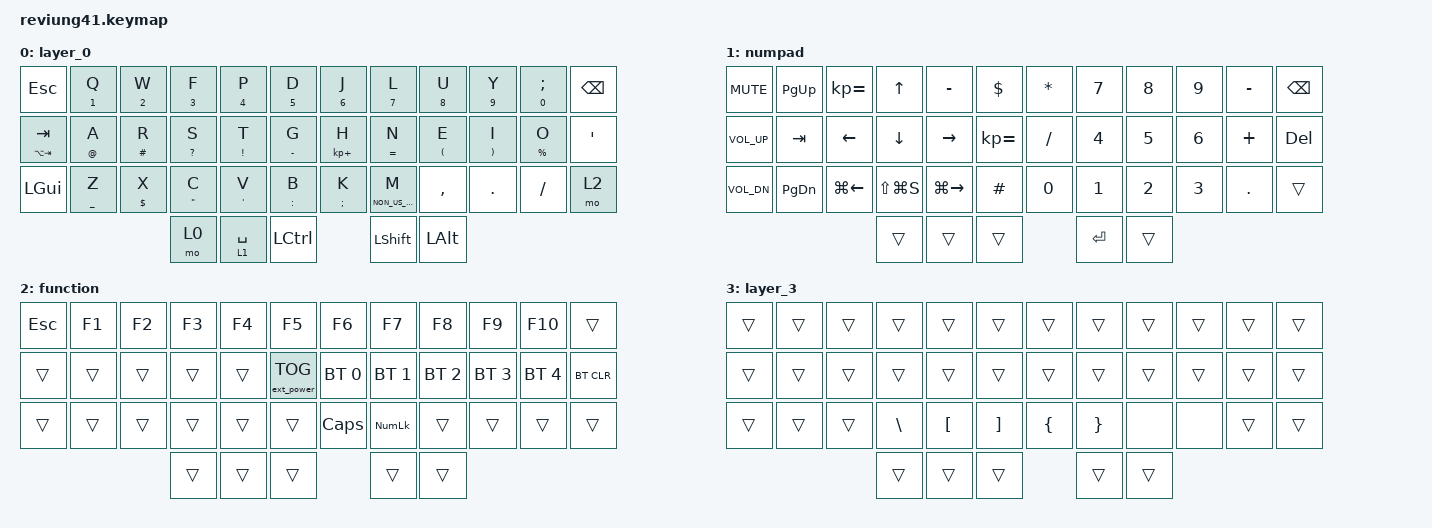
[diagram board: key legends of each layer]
/*
 * Copyright (c) 2020 The ZMK Contributors
 *
 * SPDX-License-Identifier: MIT
 */

#include <behaviors.dtsi>
#include <dt-bindings/zmk/bt.h>
#include <dt-bindings/zmk/ext_power.h>
#include <dt-bindings/zmk/keys.h>

/ {
    behaviors {
        ht: ht {
            compatible = "zmk,behavior-hold-tap";
            label = "Hold tap";
            bindings = <&kp>, <&kp>;

            #binding-cells = <2>;
            tapping-term-ms = <200>;
            flavor = "tap-preferred";
        };
    };

    macros {
        playswitch: playswitch {
            compatible = "zmk,behavior-macro";
            label = "PLAYSWITCH";
            #binding-cells = <0>;
            bindings = <&kp LA(LC(F11))>;
        };

        recswitch: recswitch {
            compatible = "zmk,behavior-macro";
            label = "RECSWITCH";
            #binding-cells = <0>;
            bindings = <&kp LA(LC(F7))>;
        };

        recmute: recmute {
            compatible = "zmk,behavior-macro";
            label = "RECMUTE";
            #binding-cells = <0>;
            bindings = <&kp LA(LC(M))>;
        };
    };

    keymap {
        compatible = "zmk,keymap";

        layer_0 {
            bindings = <
&kp ESC          &ht N1 Q          &ht N2 W      &ht N3 F             &ht N4 P           &ht N5 D                       &ht N6 J         &ht N7 L                &ht N8 U                &ht N9 Y                 &ht N0 SEMICOLON  &kp BSPC
&ht LA(TAB) TAB  &ht AT_SIGN A     &ht POUND R   &ht QUESTION S       &ht EXCLAMATION T  &ht MINUS G                    &ht KP_PLUS H    &ht EQUAL N             &ht LEFT_PARENTHESIS E  &ht RIGHT_PARENTHESIS I  &ht PERCENT O     &kp SQT
&kp LGUI         &ht UNDERSCORE Z  &ht DOLLAR X  &ht DOUBLE_QUOTES C  &ht SQT V          &ht COLON B                    &ht SEMICOLON K  &ht NON_US_BACKSLASH M  &kp COMMA               &kp DOT                  &kp FSLH          &mo 2
                                                 &mo 0                &lt 1 SPACE                     &kp LEFT_CONTROL                   &kp LSHFT               &kp LALT
            >;
        };

        numpad {
            bindings = <
&kp C_MUTE    &kp PG_UP  &kp KP_EQUAL        &kp UP_ARROW    &kp MINUS        &kp DOLLAR            &kp STAR  &kp N7     &kp N8  &kp N9  &kp MINUS  &kp BSPC
&kp C_VOL_UP  &kp TAB    &kp LEFT_ARROW      &kp DOWN_ARROW  &kp RIGHT_ARROW  &kp KP_EQUAL          &kp FSLH  &kp N4     &kp N5  &kp N6  &kp PLUS   &kp DEL
&kp C_VOL_DN  &kp PG_DN  &kp LG(LEFT_ARROW)  &kp LS(LG(S))   &kp LG(RIGHT)    &kp HASH              &kp N0    &kp N1     &kp N2  &kp N3  &kp DOT    &trans
                                             &trans          &trans                         &trans            &kp ENTER  &trans
            >;
        };

        function {
            bindings = <
&kp ESC  &kp F1  &kp F2  &kp F3  &kp F4  &kp F5                     &kp F6        &kp F7          &kp F8        &kp F9        &kp F10       &trans
&trans   &trans  &trans  &trans  &trans  &ext_power EP_TOG          &bt BT_SEL 0  &bt BT_SEL 1    &bt BT_SEL 2  &bt BT_SEL 3  &bt BT_SEL 4  &bt BT_CLR
&trans   &trans  &trans  &trans  &trans  &trans                     &kp CAPS      &kp KP_NUMLOCK  &trans        &trans        &trans        &trans
                         &trans  &trans                     &trans                &trans          &trans
            >;
        };

        layer_3 {
            bindings = <
&trans  &trans  &trans  &trans    &trans    &trans            &trans          &trans           &trans  &trans  &trans  &trans
&trans  &trans  &trans  &trans    &trans    &trans            &trans          &trans           &trans  &trans  &trans  &trans
&trans  &trans  &trans  &kp BSLH  &kp LBKT  &kp RBKT          &kp LEFT_BRACE  &kp RIGHT_BRACE  &none   &none   &trans  &trans
                        &trans    &trans              &trans                  &trans           &trans
            >;
        };
    };
};
